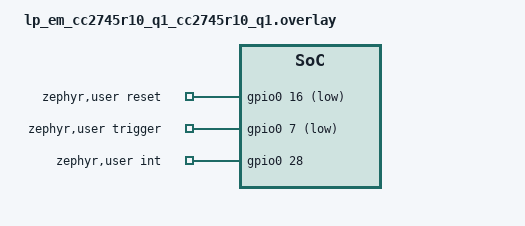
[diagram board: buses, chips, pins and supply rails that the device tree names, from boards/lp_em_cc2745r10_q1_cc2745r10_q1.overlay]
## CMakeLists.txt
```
# SPDX-License-Identifier: Apache-2.0
cmake_minimum_required(VERSION 3.20.0)
find_package(Zephyr REQUIRED HINTS $ENV{ZEPHYR_BASE})
project(ti_cc140xp_ssbl_host)

target_sources(app PRIVATE
    src/main.c
    src/ssbl_host.c
)
```

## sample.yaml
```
sample:
  name: TI CC140xP SSBL Host Sample
  description: Firmware-update host application for the TI CC140xP transceiver's Secure Serial Bootloader (SSBL)
common:
  tags:
    - drivers
    - prop_rf
    - shield
  depends_on: spi gpio
tests:
  sample.shields.ti_bp_cc140xp.ti_cc140xp_ssbl_host:
    harness: shield
    extra_args: SHIELD=ti_bp_cc140xp
    platform_allow:
      - lp_em_cc2745r10_q1/cc2745r10_q1
    integration_platforms:
      - lp_em_cc2745r10_q1/cc2745r10_q1
```

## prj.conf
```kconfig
CONFIG_GPIO=y
CONFIG_SPI=y
CONFIG_CRC=y
CONFIG_MAIN_STACK_SIZE=4096

# By default a device's pinctrl_dev_config has internal (static) linkage,
# visible only inside the driver's own .c file. ssbl_host.c needs to reach
# spi0's pinctrl config directly (PINCTRL_DT_DEV_CONFIG_DECLARE/GET) to
# apply the custom "cs_sw_controlled" state (see the board overlay) and
# force DIO7 back to plain GPIO for the reset/trigger sequence. The symbol
# that actually controls this, PINCTRL_NON_STATIC, has no prompt and can't
# be set directly — PINCTRL_DYNAMIC is the user-facing option that selects
# it.
CONFIG_PINCTRL_DYNAMIC=y

# The board default (CONFIG_PM=y) lets the CPU enter low-power idle during
# any k_sleep(), which cycles every active device through PM_DEVICE_ACTION_
# SUSPEND/RESUME. The CC27xx SPI driver's RESUME handler re-applies its
# active pinctrl state on every one of those cycles — including DIO7, now
# that it's the driver's own hardware CS pin (see the board overlay) — which
# glitches CS repeatedly while main() busy-waits for the button press,
# unrelated to any real SPI transfer. Disabled here since this is a
# diagnostic-only sample with no power budget to protect.
CONFIG_PM=n

# With CONFIG_PM=n and CONFIG_PM_DEVICE unset, pinctrl.h unconditionally
# defines PINCTRL_SKIP_SLEEP (see drivers/pinctrl.h), dropping the "sleep"
# pinctrl state from every node at compile time. That leaves a dangling gap
# in spi0's now-3-state array (default/sleep/cs_sw_controlled), since the
# skipped state sits in the middle rather than at the end — breaking the
# generated C initializer with a bare comma. PM_DEVICE has no "depends on
# PM", so enabling just this (without re-enabling CONFIG_PM's automatic
# CPU-idle suspend/resume cycling) satisfies that #if and keeps "sleep"
# from being skipped, fixing the build without reintroducing the CS glitch
# CONFIG_PM=n was added to avoid.
CONFIG_PM_DEVICE=y
```

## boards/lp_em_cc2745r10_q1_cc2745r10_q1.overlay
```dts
/*
 * Copyright (c) 2026 Texas Instruments Incorporated
 *
 * SPDX-License-Identifier: Apache-2.0
 *
 * Reuses the same physical reset/CS wiring as the other ti_cc140xp samples
 * (DIO16 reset, DIO7 CS), since the TRX only has one physical reset line and
 * one CS line. This sample bypasses the ti_cc140xp driver itself - SSBL is a
 * different wire protocol from TRX_Host.
 *
 * Built with --shield ti_bp_cc140xp like the other samples, even though this
 * one doesn't use the shield's ti_cc140xp device node - the shield's
 * LP-CC2745R10-Q1 board overlay is what disables &spi1/&led1 (both of which
 * also claim DIO16 on this board), so nothing else contends for the pin.
 */

#include <zephyr/dt-bindings/gpio/gpio.h>
#include <zephyr/dt-bindings/pinctrl/cc27xx-pinctrl.h>

/ {
	/* zephyr,user holds ad-hoc, binding-free GPIO properties */
	zephyr,user {
		reset-gpios = <&gpio0 16 GPIO_ACTIVE_LOW>;
		trigger-gpios = <&gpio0 7 GPIO_ACTIVE_LOW>;
		/* Diagnostic only - not used by the SSBL protocol */
		int-gpios = <&gpio0 28 GPIO_ACTIVE_HIGH>;
	};
};

/*
 * The board's default spi0 pinctrl already maps hardware CS to DIO7
 * (spi0_cs_default: pinmux = <7 DIO7_SPI0_CSN>), the same pin used as
 * trigger-gpios above. The CC27xx SPI driver auto-detects that 4th pin and
 * drives CS itself around each spi_transceive() call.
 *
 * Extra pinctrl state to drive CS/trigger (DIO7) as plain GPIO during the
 * reset/trigger sequence: once any spi_transceive() call claims DIO7 for
 * SPI0_CSN, gpio_pin_configure_dt()/gpio_pin_set_dt() alone can no longer
 * move it back. This driver's PINCTRL_STATE_CS_SW_CONTROLLED convention
 * (spi_cc23x0_cc27xx.c) exists for exactly this case: SCK/MOSI/MISO stay on
 * their SPI function, only CS is remuxed to GPIO. ssbl_host.c applies this
 * state after the pinctrl-priming dummy transfer, then restores
 * PINCTRL_STATE_DEFAULT before the real Ping transfer.
 */
&pinctrl {
	spi0_cs_gpio_ctrl: spi0_cs_gpio_ctrl {
		pinmux = <7 DIO7_GPIO7>;
		input-enable;
		input-schmitt-enable;
		bias-disable;
	};
};

&spi0 {
	pinctrl-2 = <&spi0_sck_default
		     &spi0_mosi_default
		     &spi0_miso_default
		     &spi0_cs_gpio_ctrl>;
	pinctrl-names = "default", "sleep", "cs_sw_controlled";
};

/*
 * System ROM unconditionally write/erase/read-protects the last 96 KiB of
 * main flash (0xE8000-0x100000) for HSM firmware, regardless of any
 * CCFG/FCFG flashProt configuration (TRM swcu195a.pdf, Section 8.7 "HSM
 * FW"). ssbl_fw_partition is placed at 0x77000 to stay clear of that region,
 * reclaiming slot1_partition's range - this sample is flashed as a
 * standalone image via UniFlash, not through MCUboot, so slot1 is unused.
 * CC27xx internal flash is memory-mapped, so the sample accesses this
 * partition's fixed address directly rather than through the flash driver
 * API.
 */
/delete-node/ &slot1_partition;

&flash0 {
	partitions {
		ssbl_fw_partition: partition@77000 {
			label = "ssbl-fw-update";
			reg = <0x00077000 0x0006d000>;
		};
	};
};
```

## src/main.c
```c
/*
 * Copyright (c) 2026 Texas Instruments Incorporated
 *
 * SPDX-License-Identifier: Apache-2.0
 */

#include <zephyr/device.h>
#include <zephyr/devicetree.h>
#include <zephyr/drivers/gpio.h>
#include <zephyr/kernel.h>
#include <zephyr/sys/printk.h>

#include "ssbl_host.h"

#if DT_NODE_HAS_STATUS(DT_ALIAS(led0), okay)
#define LED0_NODE DT_ALIAS(led0)
const struct gpio_dt_spec led0 = GPIO_DT_SPEC_GET(LED0_NODE, gpios);
#define HAS_LED0 1
#else
#define HAS_LED0 0
#endif

#if DT_NODE_HAS_STATUS(DT_ALIAS(led1), okay)
#define LED1_NODE DT_ALIAS(led1)
const struct gpio_dt_spec led1 = GPIO_DT_SPEC_GET(LED1_NODE, gpios);
#define HAS_LED1 1
#else
#define HAS_LED1 0
#endif

/* Diagnostic only - not part of the SSBL protocol */
static const struct gpio_dt_spec ssbl_int_gpio =
	GPIO_DT_SPEC_GET(DT_PATH(zephyr_user), int_gpios);

/*
 * Warning - This is only an example key. This should not be used for production devices.
 *
 * This key should only be used for early testing. Its matching private key is
 * publicly known, so it provides no real security guarantee.
 *
 * Open source tools such as OpenSSL can be used to generate your own private/public key
 * pair. The private key of which should be securely maintained with very limited access
 * protocols. The public key from the pair can be swapped in for this example key for
 * continued testing.
 */
static const ssblCustKey_t customerKey = {
	.keyId = { 0xF0, 0x0D, 0xCA, 0xFE, 0xBE, 0xEF, 0xFE, 0xED },
	.key = {{
		/* Uncompressed Prefix */
		0x04,

		/* X Component */
		0xce, 0x7d, 0x73, 0x79, 0xad, 0xb5, 0x64, 0x3a, 0x58, 0x25, 0xe9, 0xd5, 0xd4, 0x81, 0x21, 0x0d,
		0x63, 0x73, 0x87, 0x34, 0xd8, 0x98, 0x35, 0xf1, 0x05, 0x34, 0x6c, 0xf6, 0x30, 0xd6, 0x91, 0x2f,

		/* Y Component */
		0x6c, 0x92, 0xe0, 0x81, 0x4d, 0x05, 0xf1, 0x3a, 0x8d, 0x3e, 0x28, 0x22, 0xcf, 0x9e, 0xe9, 0x29,
		0xfb, 0x3c, 0x0f, 0x38, 0xd7, 0x50, 0x7e, 0x6f, 0x4f, 0x77, 0xa3, 0xe3, 0x15, 0xbb, 0x51, 0x27
	}},
};

/*
 * CC27xx internal flash is memory-mapped, so the partition's DT address can
 * be used directly as a raw pointer.
 */
static uint8_t * const trxFwUpdateBuffer = (uint8_t *)DT_REG_ADDR(DT_NODELABEL(ssbl_fw_partition));

int main(void)
{
#if HAS_LED0
	gpio_pin_configure_dt(&led0, GPIO_OUTPUT_INACTIVE);
#endif
#if HAS_LED1
	gpio_pin_configure_dt(&led1, GPIO_OUTPUT_INACTIVE);
#endif

	/* Turn on user LED */
#if HAS_LED1
	gpio_pin_set_dt(&led1, 1);
#endif

	/* Diagnostic input with pull-up, read at boot */
	gpio_pin_configure_dt(&ssbl_int_gpio, GPIO_INPUT | GPIO_PULL_UP);
	printk("DIO28 (INT, unused by SSBL) at boot: %d\n", gpio_pin_get_dt(&ssbl_int_gpio));

	printk("Starting the Secure Serial Bootloader(SSBL) Host example\n");
	printk("This example assumes 'trx_fw_update_final.bin' has already been "
	       "programmed at the ssbl-fw-update flash partition, offset 0x%x.\n",
	       (unsigned int)(uintptr_t)trxFwUpdateBuffer);

	/*
	 * This is one example of how your application should setup the ssblDownload_t struct for the
	 * SSBL Host. Your usage may be slightly different. Please configure the ssblDownload_t struct
	 * to fit your use case.
	 *
	 * If optional customer key signature verification is desired then the customer public key must
	 * be programmed to the CC140X device before a FW update can be successful. By running this
	 * example with
	 *     * ( ssblHostDownloadStruct.programKey == true ) and
	 *     * ( ssblHostDownloadStruct.custKey == &customerKey )
	 * the SSBL Host will handle programming the provided customerKey to the CC140X.
	 *
	 * **Warning** - Programming the customer public key is a one time operation. It cannot be
	 * undone and a new/different public key cannot be programmed after the first key is programmed.
	 * Be VERY sure you want to program the customer key before you continue.
	 */
	const ssblDownload_t ssblHostDownloadStruct = {
		.programKey = false, /* See warning above */
		.custKey = NULL, /* &customerKey - see warning above */
		.trxFwUpdateBuffer = trxFwUpdateBuffer, /* Must be word aligned */
		.triggerSsbl = true,
	};
	ARG_UNUSED(customerKey);

	BLDR_STATUS_T status = performSsblDownloadSequence(&ssblHostDownloadStruct);

	if (status != BLDR_CMD_RET_SUCCESS) {
		printk("Download Sequence Failed. Status: 0x%x\n", status);
		while (1) {
			k_sleep(K_FOREVER);
		}
	}

	printk("Download sequence completed successfully :) !!\n");

#if HAS_LED1
	gpio_pin_set_dt(&led1, 0);
#endif
#if HAS_LED0
	gpio_pin_set_dt(&led0, 1);
#endif

	return 0;
}
```

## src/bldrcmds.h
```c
/*
 * Copyright (c) 2026 Texas Instruments Incorporated
 *
 * SPDX-License-Identifier: Apache-2.0
 */

#ifndef __BLDRCMDS_H__
#define __BLDRCMDS_H__

#ifdef __cplusplus
extern "C" {
#endif

/**
 * @brief Bootloader Command ID Enum
 */
typedef enum {
	BLDR_CMD_ID_PING         = 0,  /**< Ping Command */
	BLDR_CMD_ID_GET_STATUS   = 1,  /**< Get Status Command */
	BLDR_CMD_ID_GET_SEC_VER  = 2,  /**< Get Security Version Command */
	BLDR_CMD_ID_BREAK_OUT    = 3,  /**< Break Out Command */
	BLDR_CMD_ID_RESET        = 4,  /**< Reset Command */
	BLDR_CMD_ID_GET_PART_ID  = 5,  /**< Get Part ID Command */
	BLDR_CMD_ID_GET_KEY_ID   = 6,  /**< Get Customer Key ID Command */
	BLDR_CMD_ID_SET_CUST_KEY = 7,  /**< Set Customer Key Command */
	BLDR_CMD_ID_DOWNLOAD     = 8,  /**< Download Command */
	BLDR_CMD_ID_BANK_ERASE   = 9,  /**< Bank Erase Command */
	BLDR_CMD_ID_SEND_DATA    = 10, /**< Send Data Command */
	BLDR_CMD_ID_GET_FW_HASH  = 11, /**< Get Firmware Hash */
} BLDR_CMD_ID_T;

/**
 * @brief Bootloader Status Enum
 */
typedef enum {
	BLDR_CMD_RET_SUCCESS      = 0x40, /**< Success Status */
	BLDR_CMD_RET_UNKNOWN_CMD  = 0x41, /**< Unknown Command Status */
	BLDR_CMD_RET_INVALID_CMD  = 0x42, /**< Invalid Command Status */
	BLDR_CMD_RET_INVALID_ADR  = 0x43, /**< Invalid Address Status */
	BLDR_CMD_RET_FLASH_FAIL   = 0x44, /**< Flash Failure Status */
	BLDR_CMD_RET_SEC_VER_FAIL = 0x45, /**< Security Version Failure status */
	BLDR_CMD_RET_OUT_OF_ORDER = 0x46, /**< Out of Order Commands status */
	BLDR_CMD_RET_NO_APP       = 0x47, /**< No App (can't breakout) status */
	BLDR_CMD_RET_AUTH_FAIL    = 0x48, /**< Authentication Failure status */
	BLDR_CMD_RET_FAILURE      = 0x49, /**< General Failure status */
} BLDR_STATUS_T;

/*
 * Overhead each and every cmd has:
 * [ length, length ] ... cmd_payload ... [ crc, crc, crc, crc ]
 */
#define BLDR_CMD_OVERHEAD (6U)

/*
 * Constant front overhead of a download cmd - only the content before the
 * variably sized blockHashes:
 * [ imgID, imgID, secVer, size, size, size, size, addr, addr, addr, addr ]
 */
#define BLDR_DOWNLOAD_PAYLOAD_FRONT_OVERHEAD (11U)

/*
 * Constant overhead of a download cmd, excluding the variably sized
 * blockHashes portion:
 * front_overhead + ... block hashes ... + [ ti_signature ] + [ cust_signature ]
 */
#define BLDR_DOWNLOAD_CMD_OVERHEAD (BLDR_DOWNLOAD_PAYLOAD_FRONT_OVERHEAD + 64U + 64U)

/*
 * Constant overhead of a send data cmd, excluding the variably sized block
 * data portion:
 * [ size, size, size, size, num, num, num, num ]
 */
#define BLDR_SEND_DATA_CMD_OVERHEAD (8U)

/* The value that is sent to acknowledge a packet. */
#define BLDR_CMD_ACK (0xCCU)

/* The value that is sent to not-acknowledge a packet. */
#define BLDR_CMD_NAK (0x33U)

#ifdef __cplusplus
}
#endif

#endif /* __BLDRCMDS_H__ */
```

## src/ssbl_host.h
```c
/*
 * Copyright (c) 2026 Texas Instruments Incorporated
 *
 * SPDX-License-Identifier: Apache-2.0
 */

#ifndef SSBL_HOST
#define SSBL_HOST

#ifdef __cplusplus
extern "C" {
#endif

#include "bldrcmds.h"

#define TRX_MAIN_FLASH_SECTOR_SIZE 0x400 /**< Flash sector size of the TRX device */
#define TRX_NUM_SECTORS            0x70  /**< Max num of flash sectors for a TRX FW upgrade across all devices */

#define SEC_VER_STATUS_INACTIVE    0xFFFFFFFF /**< Security version status Inactive */
#define SEC_VER_STATUS_ACTIVE      0xAAAAAAAA /**< Security version status Active */
#define SEC_VER_STATUS_OUT_OF_DATE 0x00000000 /**< Security version out of date */

#define SEC_VER_MAX_SLOTS 40 /**< The max number of security version updates */

#define TRX_SSBL_TRIGGER_LEVEL 0 /**< The TRX SSBL is triggered when its trigger pin is active low on bootup */

/**
 * @brief TRAP_FAILURE macro used for changing the behavior of a host encountered error during runtime
 *
 * If you would like to debug an issue it may be easier to enable TRAP_FAILURE so the PC stays where the
 * error occurred. No SPI_close()/Timer_close() call is needed here, since the SPI bus is a static
 * DEVICE_DT_GET reference (not opened/closed) and there is no hardware timer handle.
 */
#ifdef TRAP_FAILURE
/* Loop forever so the error can be debugged in place */
#define HANDLE_FAIL() while (1) {}
#else
/* Return immediately with the failing status */
#define HANDLE_FAIL() return status
#endif

/**
 * @brief Extended Bootloader status Enums
 * These enums extend the BLDR_STATUS_T enums that are defined
 * in bldrcmds.h. The bldrcmds.h file is a shared file and should
 * not contain these host specific enums. Thus the extension.
 *
 * Take special care that these enums do not overlap with the
 * originals from bldrcmds.h.
 */
typedef enum {
	BLDR_CMD_RET_NO_IMAGE_FOUND    = 0x01, /**< First 8 bytes of image were all 1s */
	BLDR_CMD_RET_NO_CUST_KEY       = 0x02, /**< Customer key not provided as expected */
	BLDR_CMD_RET_CRC_VERIFY_FAILED = 0x03, /**< Calculated CRC did not match provided value */
	BLDR_CMD_RET_RESP_TIMEOUT      = 0x04, /**< No response received from the TRX within (t) time */
} BLDR_STATUS_EXT_T;

/**
 * @brief Simple 8 byte buffer which represents a Key ID
 */
typedef uint8_t ssblKeyId_t[8];

/**
 * @brief Simple 256 byte buffer which represents a FW Hash
 */
typedef uint32_t ssblFwHash_t[8];

/**
 * @brief A structure which splits a public key into its components
 */
typedef union {
	uint8_t val8[65]; /**< Byte array used to reference the entire struct at once in code */
	struct {
		uint8_t prefix; /**< Key prefix. Only uncompressed keys are supported (0x04) */
		uint8_t r[32];  /**< Key R component (also known as the X component) */
		uint8_t s[32];  /**< Key S component (also known as the Y component) */
	};
} ssblEccSignature_t;

/**
 * @brief A structure containing a #keyId and a #key.
 */
typedef struct {
	ssblKeyId_t keyId;      /**< Key ID - used to identify and verify which key was written to a given device */
	ssblEccSignature_t key; /**< Key - actual public key contents */
} ssblCustKey_t;

/**
 * @brief A structure containing all required parameters to the performSsblDownloadSequence() function.
 */
typedef struct {
	const ssblCustKey_t *custKey; /**< Pointer to an optional customer public struct */
	bool programKey;              /**< Tells the host to program the provided #custKey */
	uint8_t *trxFwUpdateBuffer;   /**< Byte pointer to the trx_fw_update_final.bin that should reside
					*   somewhere in flash (must be a multiple of 4)
					*/
	bool triggerSsbl;             /**< Tells the host to trigger the SSBL via the trigger pin */
} ssblDownload_t;

/**
 * @brief Quickly confirm the CRC32 at the end of the trx_fw_update_final.bin in
 * flash matches the stored value
 *
 * @param trxFwUpdateBuffer - address where the trx_fw_update_final.bin has been
 * stored in flash
 * @return BLDR_STATUS_T
 */
BLDR_STATUS_T crcCheckTrxFwUpdateBuffer(const uint8_t *trxFwUpdateBuffer);

/**
 * @brief Performs all steps required to complete a software update
 *
 * This function will make decisions based on the information provided in the
 * downloadStruct.
 *
 * It is a failure condition if downloadStruct.programKey is true but the
 * downloadStruct.custKey is NULL. Additionally, it is required that both downloadStruct.downloadCmdPayload and
 * downloadStruct.newImageAddress are not NULL.
 *
 * The overall return behavior of this function can be modified by defining `TRAP_FAILURE`.
 *
 * This function will send the following basic commands:
 *      1. Ping - Verifying a line of communication
 *      2. Get Sec Version - Verify the new image can be accepted
 *      3. Set Customer Key - If requested by downloadStruct.programKey
 *      4. Get Key Id -  If downloadStruct.custKey is provided, confirm keyIds match
 *      5. Download - Start the actual Download
 *      6. Bank Erase - Clear the TRX Flash and prepare for new software
 *      7. Send Data - Transfer N blocks until update is complete
 *      8. Get Sec Version - Verify the new image version is reported after update
 *      9. Break Out - Cause TRX to boot into the new software
 *
 * @param downloadStruct
 * @return BLDR_STATUS_T
 */
BLDR_STATUS_T performSsblDownloadSequence(const ssblDownload_t *downloadStruct);

#ifdef __cplusplus
}
#endif

#endif /* SSBL_HOST */
```
